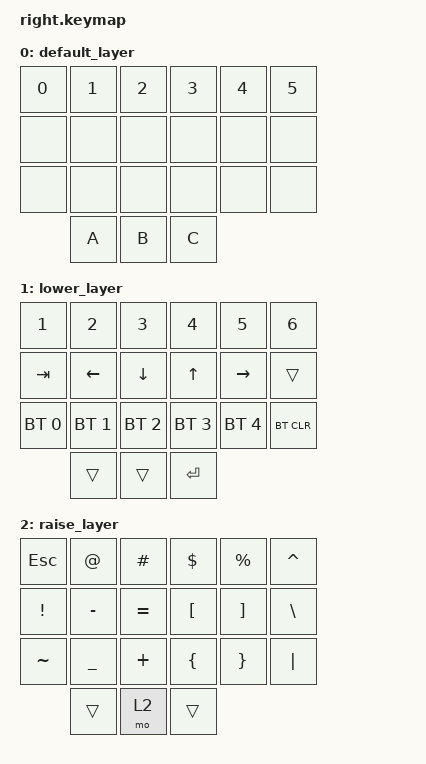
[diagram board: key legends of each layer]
// Copyright (c) 2025
// SPDX-License-Identifier: MIT

#include <behaviors.dtsi>
#include <dt-bindings/zmk/keys.h>
#include <dt-bindings/zmk/bt.h>

/ {
    keymap {
        compatible = "zmk,keymap";
        
        default_layer {
            // Test layout - each key shows its position
            // Row0: 0 1 2 3 4 5
            // Row1: @ @ @ @ @ @
            // Row2: @ @ @ @ @ @
            // Row3:   A B C (col1,2,3)
            bindings = <
                &kp N0 &kp N1    &kp N2 &kp N3    &kp N4 &kp N5
                &none  &none     &none  &none     &none  &none
                &none  &none     &none  &none     &none  &none
                       &kp A     &kp B  &kp C
            >;
        };
        
        lower_layer {
            // -----------------------------------------------------------------------------------------
            // |  1  |  2  |  3  |  4  |  5  |  6  |
            // | TAB | LFT | DWN | UP  | RGT |     |
            // | BT1 | BT2 | BT3 | BT4 | BT5 | CLR |
            //       |     |     | ENT |
            bindings = <
                &kp N1       &kp N2       &kp N3       &kp N4       &kp N5       &kp N6
                &kp TAB      &kp LEFT     &kp DOWN     &kp UP       &kp RIGHT    &trans
                &bt BT_SEL 0 &bt BT_SEL 1 &bt BT_SEL 2 &bt BT_SEL 3 &bt BT_SEL 4 &bt BT_CLR
                             &trans       &trans       &kp RET
            >;
        };
        
        raise_layer {
            // -----------------------------------------------------------------------------------------
            // | ESC |  @  |  #  |  $  |  %  |  ^  |
            // |  !  |  -  |  =  |  [  |  ]  |  \  |
            // |  ~  |  _  |  +  |  {  |  }  |  |  |
            //       |     | RSE |     |
            bindings = <
                &kp ESC   &kp AT    &kp HASH  &kp DLLR  &kp PRCNT &kp CARET
                &kp EXCL  &kp MINUS &kp EQUAL &kp LBKT  &kp RBKT  &kp BSLH
                &kp TILDE &kp UNDER &kp PLUS  &kp LBRC  &kp RBRC  &kp PIPE
                          &trans    &mo 2     &trans
            >;
        };
    };
};
